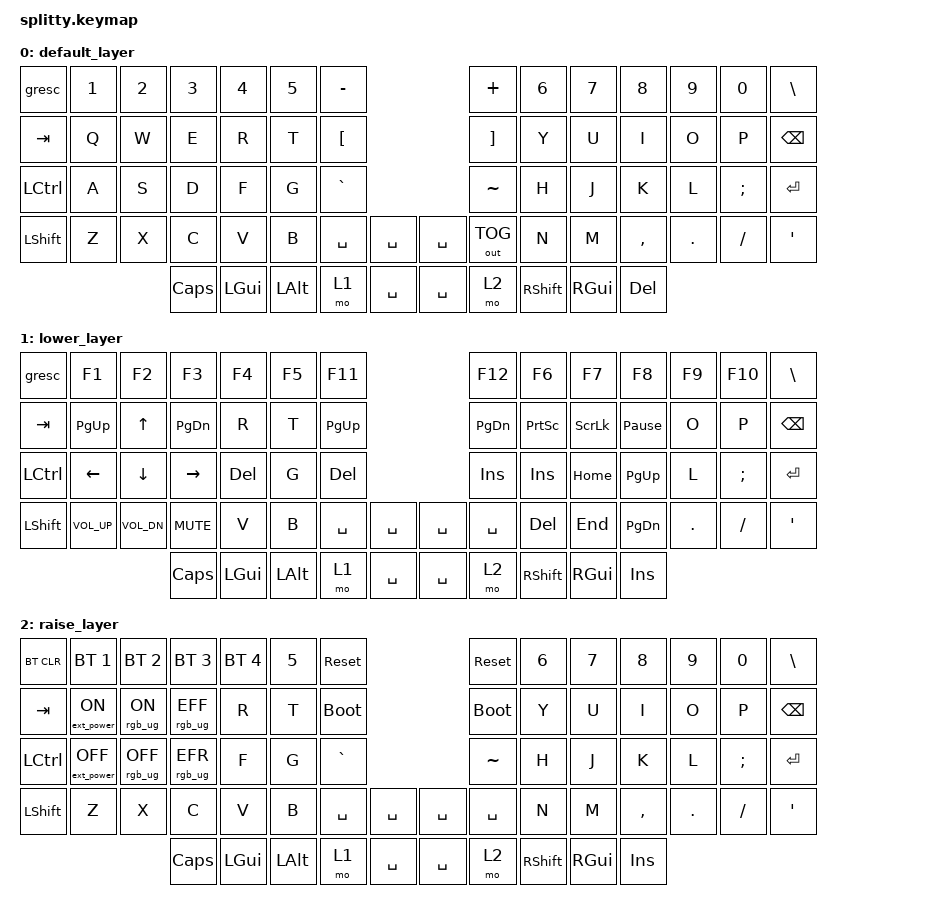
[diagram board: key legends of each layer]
#include <behaviors.dtsi>
#include <dt-bindings/zmk/keys.h>
#include <dt-bindings/zmk/bt.h>
#include <dt-bindings/zmk/outputs.h>
#include <dt-bindings/zmk/rgb.h>
#include <dt-bindings/zmk/ext_power.h>

/ {
	keymap0: keymap {
		compatible = "zmk,keymap";

		default_layer {
// -----------------------------------------------------------------------------------------
// |  ESC |  1  |  2  |   3  |  4  |  5  |  -  |               |  +  |   6  |  7  |  8  |  9  |  0  |   \  |
// |  TAB |  Q  |  W  |   E  |  R  |  T  |  [  |               |  ]  |   Y  |  U  |  I  |  O  |  P  | BKSP |
// | CTRL |  A  |  S  |   D  |  F  |  G  |  `  |               |  ~  |   H  |  J  |  K  |  L  |  ;  |  ENT |
// | SHFT |  Z  |  X  |   C  |  V  |  B  | SPC | SPC |   | SPC | SPC |   N  |  M  |  ,  |  .  |  /  |   '  |
//                    | CAPS | GUI | ALT | LWR | SPC |   | SPC |RAISE| SHFT | GUI | DEL |                   
			bindings = <
	&gresc    &kp N1 &kp N2 &kp N3   &kp N4   &kp N5   &kp MINUS                        &kp PLUS     &kp N6    &kp N7   &kp N8    &kp N9  &kp N0   &kp BSLH
	&kp TAB   &kp Q  &kp W  &kp E    &kp R    &kp T    &kp LBKT                         &kp RBKT     &kp Y     &kp U    &kp I     &kp O   &kp P    &kp BSPC
	&kp LCTRL &kp A  &kp S  &kp D    &kp F    &kp G    &kp GRAVE                        &kp TILDE    &kp H     &kp J    &kp K     &kp L   &kp SEMI &kp RET
	&kp LSHFT &kp Z  &kp X  &kp C    &kp V    &kp B    &kp SPACE &kp SPACE    &kp SPACE &out OUT_TOG &kp N     &kp M    &kp COMMA &kp DOT &kp FSLH &kp SQT
	                        &kp CLCK &kp LGUI &kp LALT &mo 1     &kp SPACE    &kp SPACE &mo 2        &kp RSHFT &kp RGUI &kp DEL
			>;
		};

		lower_layer {
			bindings = <
	&gresc    &kp F1       &kp F2       &kp F3     &kp F4   &kp F5   &kp F11                          &kp F12   &kp F6    &kp F7   &kp F8          &kp F9  &kp F10  &kp BSLH
	&kp TAB   &kp PG_UP    &kp UP       &kp PG_DN  &kp R    &kp T    &kp PG_UP                        &kp PG_DN &kp PSCRN &kp SLCK &kp PAUSE_BREAK &kp O   &kp P    &kp BSPC
	&kp LCTRL &kp LEFT     &kp DOWN     &kp RIGHT  &kp DEL  &kp G    &kp DEL                          &kp INS   &kp INS   &kp HOME &kp PG_UP       &kp L   &kp SEMI &kp RET
	&kp LSHFT &kp C_VOL_UP &kp C_VOL_DN &kp C_MUTE &kp V    &kp B    &kp SPACE &kp SPACE    &kp SPACE &kp SPACE &kp DEL   &kp END  &kp PG_DN       &kp DOT &kp FSLH &kp SQT
	                                    &kp CLCK   &kp LGUI &kp LALT &mo 1     &kp SPACE    &kp SPACE &mo 2     &kp RSHFT &kp RGUI &kp INS
			>;
		};

		raise_layer {
			bindings = <
	&bt BT_CLR &bt BT_SEL 1      &bt BT_SEL 2    &bt BT_SEL 3    &bt BT_SEL 4 &kp N5   &sys_reset                       &sys_reset  &kp N6    &kp N7   &kp N8    &kp N9  &kp N0   &kp BSLH
	&kp TAB    &ext_power EP_ON  &rgb_ug RGB_ON  &rgb_ug RGB_EFF &kp R        &kp T    &bootloader                      &bootloader &kp Y     &kp U    &kp I     &kp O   &kp P    &kp BSPC
	&kp LCTRL  &ext_power EP_OFF &rgb_ug RGB_OFF &rgb_ug RGB_EFR &kp F        &kp G    &kp GRAVE                        &kp TILDE   &kp H     &kp J    &kp K     &kp L   &kp SEMI &kp RET
	&kp LSHFT  &kp Z             &kp X           &kp C           &kp V        &kp B    &kp SPACE &kp SPACE    &kp SPACE &kp SPACE   &kp N     &kp M    &kp COMMA &kp DOT &kp FSLH &kp SQT
	                                             &kp CLCK        &kp LGUI     &kp LALT &mo 1     &kp SPACE    &kp SPACE &mo 2       &kp RSHFT &kp RGUI &kp INS
			>;
		};
	};
};
